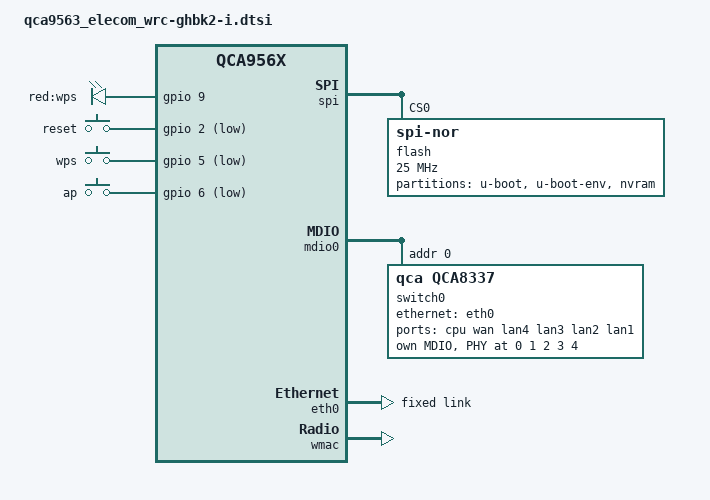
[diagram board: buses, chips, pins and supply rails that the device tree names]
// SPDX-License-Identifier: GPL-2.0-or-later OR MIT

#include "qca956x.dtsi"

#include <dt-bindings/gpio/gpio.h>
#include <dt-bindings/input/input.h>

/ {
	aliases {
		led-boot = &led_power;
		led-failsafe = &led_power;
		led-running = &led_power;
		led-upgrade = &led_power;
	};

	leds: leds {
		compatible = "gpio-leds";

		wps {
			label = "red:wps";
			gpios = <&gpio 9 GPIO_ACTIVE_HIGH>;
		};
	};

	keys {
		compatible = "gpio-keys";

		reset {
			label = "reset";
			gpios = <&gpio 2 GPIO_ACTIVE_LOW>;
			linux,code = <KEY_RESTART>;
			debounce-interval = <60>;
		};

		wps {
			label = "wps";
			gpios = <&gpio 5 GPIO_ACTIVE_LOW>;
			linux,code = <KEY_WPS_BUTTON>;
			debounce-interval = <60>;
		};

		ap {
			label = "ap";
			gpios = <&gpio 6 GPIO_ACTIVE_LOW>;
			linux,code = <BTN_0>;
			linux,input-type = <EV_SW>;
			debounce-interval = <60>;
		};
	};
};

&spi {
	status = "okay";

	flash@0 {
		compatible = "jedec,spi-nor";
		reg = <0>;
		spi-max-frequency = <25000000>;

		partitions: partitions {
			compatible = "fixed-partitions";
			#address-cells = <1>;
			#size-cells = <1>;

			partition@0 {
				label = "u-boot";
				reg = <0x000000 0x040000>;
				read-only;
			};

			partition@40000 {
				label = "u-boot-env";
				reg = <0x040000 0x010000>;
				read-only;
			};

			partition@50000 {
				label = "nvram";
				reg = <0x050000 0x020000>;
				read-only;
			};
		};
	};
};

&mdio0 {
	status = "okay";

	switch0@10 {
		compatible = "qca,qca8337";
		#address-cells = <1>;
		#size-cells = <0>;

		reg = <0>;

		ports {
			#address-cells = <1>;
			#size-cells = <0>;

			port@0 {
				reg = <0>;
				label = "cpu";
				ethernet = <&eth0>;
				phy-mode = "sgmii";

				fixed-link {
					speed = <1000>;
					full-duplex;
				};
			};

			port@1 {
				reg = <1>;
				label = "wan";
				phy-mode = "internal";
				phy-handle = <&phy_port1>;
			};

			port@2 {
				reg = <2>;
				label = "lan4";
				phy-mode = "internal";
				phy-handle = <&phy_port2>;
			};

			port@3 {
				reg = <3>;
				label = "lan3";
				phy-mode = "internal";
				phy-handle = <&phy_port3>;
			};

			port@4 {
				reg = <4>;
				label = "lan2";
				phy-mode = "internal";
				phy-handle = <&phy_port4>;
			};

			port@5 {
				reg = <5>;
				label = "lan1";
				phy-mode = "internal";
				phy-handle = <&phy_port5>;
			};
		};

		mdio {
			#address-cells = <1>;
			#size-cells = <0>;

			phy_port1: phy@0 {
				reg = <0>;
			};

			phy_port2: phy@1 {
				reg = <1>;
			};

			phy_port3: phy@2 {
				reg = <2>;
			};

			phy_port4: phy@3 {
				reg = <3>;
			};

			phy_port5: phy@4 {
				reg = <4>;
			};
		};
	};
};

&eth0 {
	status = "okay";

	pll-data = <0x03000101 0x00000101 0x00001919>;

	fixed-link {
		speed = <1000>;
		full-duplex;
	};
};

&wmac {
	status = "okay";
};
